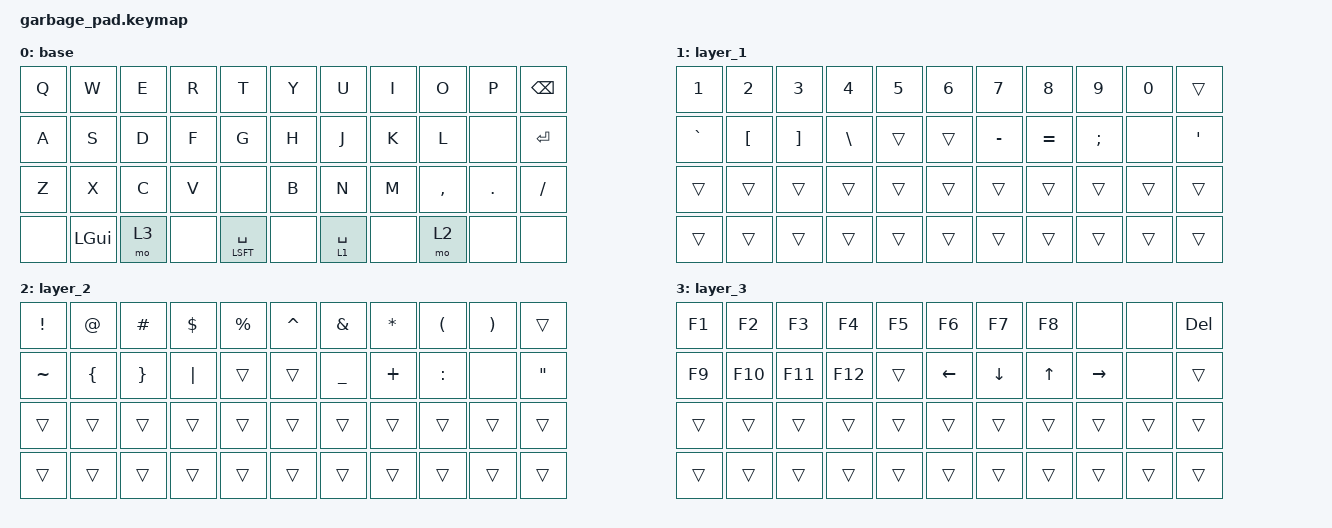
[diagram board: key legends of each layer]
#include <behaviors.dtsi>
#include <dt-bindings/zmk/keys.h>

# define NAV_SPC &lt_hp 1 SPACE
# define SFT_SPC &mt_hp LSFT SPACE

/ {
	behaviors {
		lt_hp: lt_hp {
			compatible = "zmk,behavior-hold-tap";
			label = "LAYER_TAP_BY_HOLD_TAP_HOLD_PREFERRED";
			#binding-cells = <2>;
			tapping-term-ms = <200>;
			quick-tap-ms = <0>;
			flavor = "hold-preferred";
			bindings = <&mo>, <&kp>;
		};

		mt_hp: mt_hp {
			compatible = "zmk,behavior-hold-tap";
			label = "MOD_TAP_BY_HOLD_TAP_HOLD_PREFERRED";
			#binding-cells = <2>;
			tapping-term-ms = <200>;
			quick-tap-ms = <0>;
			flavor = "hold-preferred";
			bindings = <&kp>, <&kp>;
		};
	};

	combos {
		compatible = "zmk,combos";
		combo_ecs {
			timeout-ms =  <100>;
			key-positions = <13 14>;
			bindings = <&kp ESC>;
		};

		combo_lctrl {
			timeout-ms = <100>;
			key-positions = <11 12>;
			bindings = <&kp LCTRL>;
			slow-release;
		};

		combo_tab {
			timeout-ms = <100>;
			key-positions = <0 1>;
			bindings = <&kp TAB>;
		};
	};

	keymap {
		compatible = "zmk,keymap";
		
		base {
			bindings = <
				&kp Q     &kp W     &kp E     &kp R     &kp T     &kp Y     &kp U     &kp I     &kp O     &kp P     &kp BSPC
				&kp A     &kp S     &kp D     &kp F     &kp G     &kp H     &kp J     &kp K     &kp L     &none     &kp ENTER 
				&kp Z     &kp X     &kp C     &kp V     &none     &kp B     &kp N     &kp M     &kp COMMA &kp DOT   &kp FSLH
				&none     &kp LGUI  &mo 3     &none     SFT_SPC   &none     NAV_SPC   &none     &mo 2     &none     &none
			>;
		};

		layer_1 {
			bindings = <
				&kp N1    &kp N2    &kp N3    &kp N4    &kp N5    &kp N6    &kp N7    &kp N8    &kp N9    &kp N0    &trans
				&kp GRAVE &kp LBKT  &kp RBKT  &kp BSLH  &trans    &trans    &kp MINUS &kp EQUAL &kp SEMI  &none     &kp SQT 
				&trans    &trans    &trans    &trans    &trans    &trans    &trans    &trans    &trans    &trans    &trans
				&trans    &trans    &trans    &trans    &trans    &trans    &trans    &trans    &trans    &trans    &trans
			>;
		};

		layer_2 {
			bindings = <
				&kp EXCL  &kp AT    &kp HASH  &kp DLLR  &kp PRCNT &kp CARET &kp AMPS  &kp STAR  &kp LPAR  &kp RPAR  &trans
				&kp TILDE &kp LBRC  &kp RBRC  &kp PIPE  &trans    &trans    &kp UNDER &kp PLUS  &kp COLON &none     &kp DQT 
				&trans    &trans    &trans    &trans    &trans    &trans    &trans    &trans    &trans    &trans    &trans
				&trans    &trans    &trans    &trans    &trans    &trans    &trans    &trans    &trans    &trans    &trans
			>;
		};

		layer_3 {
			bindings = <
				&kp F1    &kp F2    &kp F3    &kp F4    &kp F5    &kp F6    &kp F7    &kp F8    &none     &none     &kp DEL
				&kp F9    &kp F10   &kp F11   &kp F12   &trans    &kp LEFT  &kp DOWN  &kp UP    &kp RIGHT &none     &trans 
				&trans    &trans    &trans    &trans    &trans    &trans    &trans    &trans    &trans    &trans    &trans
				&trans    &trans    &trans    &trans    &trans    &trans    &trans    &trans    &trans    &trans    &trans
			>;
		};

	};
};
